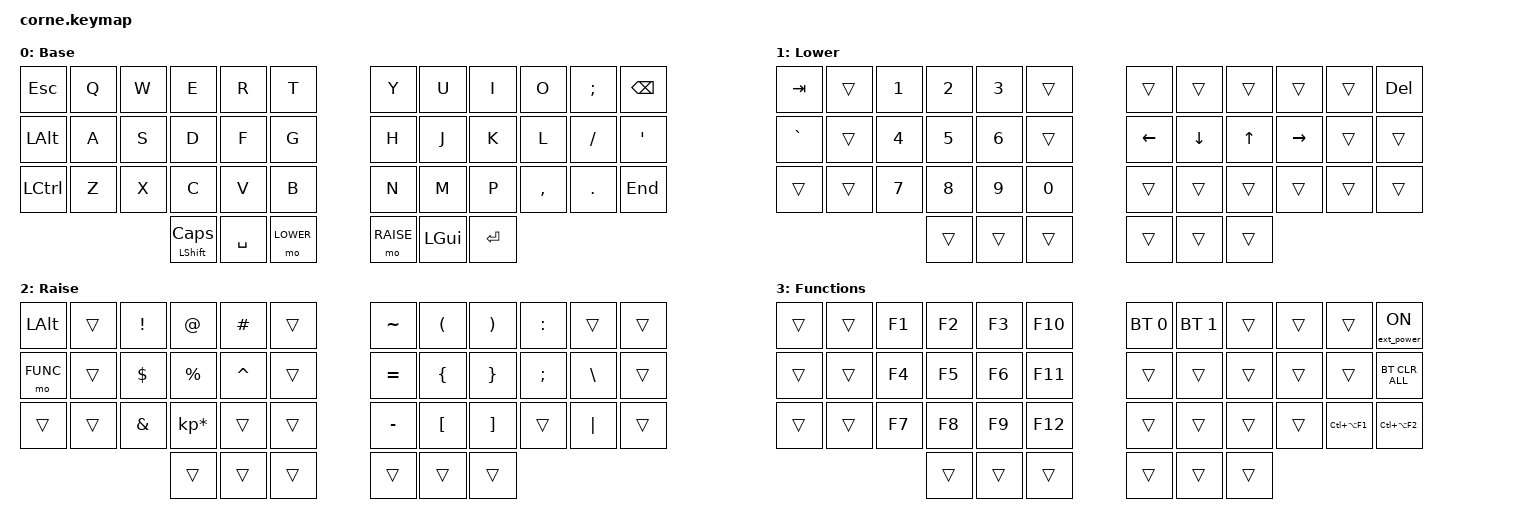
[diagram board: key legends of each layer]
#include <behaviors.dtsi>
#include <dt-bindings/zmk/keys.h>
#include <dt-bindings/zmk/bt.h>
#include <dt-bindings/zmk/ext_power.h>

#define BASE  0
#define LOWER 1
#define RAISE 2
#define FUNC  3

/ {
    keymap {
        compatible = "zmk,keymap";

        default_layer {
            display-name = "Base";
            bindings = <
&kp ESCAPE    &kp Q  &kp W  &kp E      &kp R      &kp T        &kp Y      &kp U     &kp I    &kp O      &kp SEMI  &kp BSPC
&kp LEFT_ALT  &kp A  &kp S  &kp D      &kp F      &kp G        &kp H      &kp J     &kp K    &kp L      &kp FSLH  &kp SQT
&kp LCTRL     &kp Z  &kp X  &kp C      &kp V      &kp B        &kp N      &kp M     &kp P    &kp COMMA  &kp DOT   &kp END
                            &mt LSHFT CAPSLOCK  &kp SPACE  &mo LOWER    &mo RAISE  &kp LGUI  &kp RET
            >;
        };

        lower_layer {
            display-name = "Lower";
            bindings = <
&kp TAB    &trans  &kp N1  &kp N2  &kp N3  &trans    &trans    &trans    &trans  &trans     &trans  &kp DELETE
&kp GRAVE  &trans  &kp N4  &kp N5  &kp N6  &trans    &kp LEFT  &kp DOWN  &kp UP  &kp RIGHT  &trans  &trans
&trans     &trans  &kp N7  &kp N8  &kp N9  &kp N0    &trans    &trans    &trans  &trans     &trans  &trans
                           &trans  &trans  &trans    &trans    &trans    &trans
            >;
        };

        raise_layer {
            display-name = "Raise";
            bindings = <
&kp LEFT_ALT  &trans  &kp EXCL  &kp AT           &kp HASH   &trans     &kp TILDE  &kp LEFT_PARENTHESIS  &kp RIGHT_PARENTHESIS  &kp COLON  &trans    &trans
&mo FUNC      &trans  &kp DLLR  &kp PRCNT        &kp CARET  &trans     &kp EQUAL  &kp LEFT_BRACE        &kp RIGHT_BRACE        &kp SEMI   &kp BSLH  &trans
&trans        &trans  &kp AMPS  &kp KP_MULTIPLY  &trans     &trans     &kp MINUS  &kp LEFT_BRACKET      &kp RIGHT_BRACKET      &trans     &kp PIPE  &trans
                                &trans           &trans     &trans     &trans     &trans                &trans
            >;
        };

        func_layer {
            display-name = "Functions";
            bindings = <
&trans  &trans  &kp F1  &kp F2  &kp F3  &kp F10    &bt BT_SEL 0  &bt BT_SEL 1  &trans  &trans  &trans          &ext_power EP_ON
&trans  &trans  &kp F4  &kp F5  &kp F6  &kp F11    &trans  &trans  &trans  &trans  &trans          &bt BT_CLR_ALL
&trans  &trans  &kp F7  &kp F8  &kp F9  &kp F12    &trans  &trans  &trans  &trans  &kp LC(LA(F1))  &kp LC(LA(F2))
                        &trans  &trans  &trans     &trans  &trans  &trans
            >;
        };
    };
};
